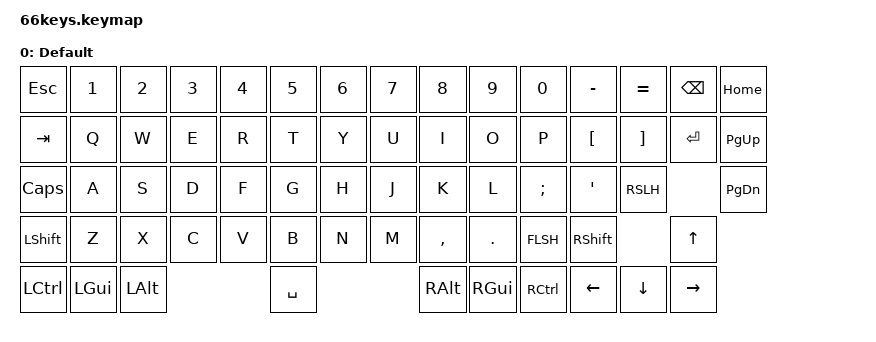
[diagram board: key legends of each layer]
/*
 * Copyright (c) 2020 The ZMK Contributors
 *
 * SPDX-License-Identifier: MIT
 */

#include <behaviors.dtsi>
#include <dt-bindings/zmk/keys.h>
#include <dt-bindings/zmk/bt.h>

/ {
    sensors: sensors {
        compatible = "zmk,keymap-sensors";
        sensors = <&encoder_1>;
        triggers-per-rotation = <20>;
    };

    keymap {
        compatible = "zmk,keymap";

        default_layer {
            display-name = "Default";

            bindings = <
            &kp ESC   &kp N1    &kp N2    &kp N3    &kp N4    &kp N5    &kp N6    &kp N7    &kp N8     &kp N9    &kp N0     &kp MINUS  &kp EQUAL &kp BSPC   &kp HOME
            &kp TAB   &kp Q     &kp W     &kp E     &kp R     &kp T     &kp Y     &kp U     &kp I      &kp O     &kp P      &kp LBKT   &kp RBKT  &kp RET    &kp PG_UP
            &kp CLCK  &kp A     &kp S     &kp D     &kp F     &kp G     &kp H     &kp J     &kp K      &kp L     &kp SEMI   &kp SQT    &kp RSLH             &kp PG_DN
            &kp LSHFT &kp Z     &kp X     &kp C     &kp V     &kp B     &kp N     &kp M     &kp COMMA  &kp DOT   &kp FLSH   &kp RSHFT            &kp UP     
            &kp LCTRL &kp LGUI  &kp LALT                      &kp SPACE                     &kp RALT   &kp RGUI  &kp RCTRL  &kp LEFT   &kp DOWN  &kp RIGHT
            >;
        };
    };
};
